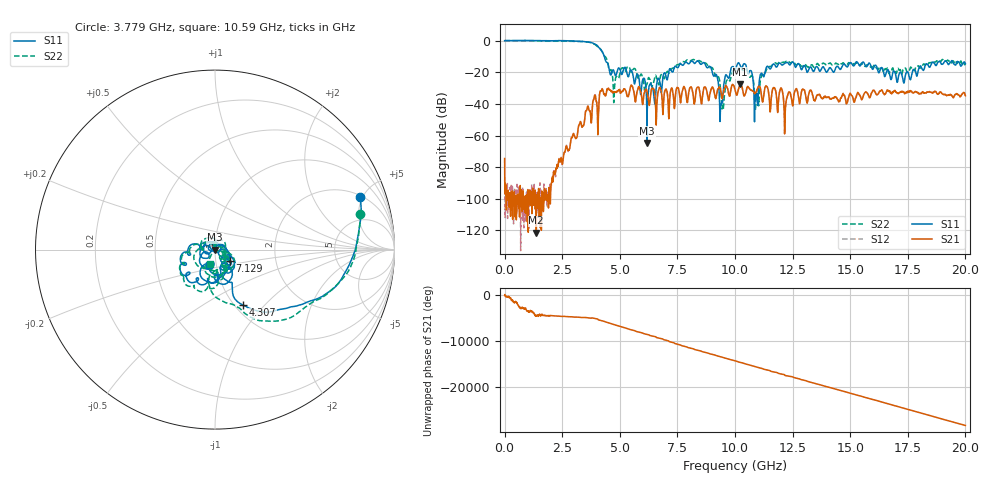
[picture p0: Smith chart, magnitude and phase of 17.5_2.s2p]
#  HZ  S  RI  R  50.00
! Rohde & Schwarz Vector Network Analyzer
! Rohde-Schwarz,ZNB20-2Port,1311601062102128,3.60
! Created: UTC 4/29/2024, 2:58:44 PM
! freq[Hz]  re:S11  im:S11  re:S21  im:S21  re:S12  im:S12  re:S22  im:S22
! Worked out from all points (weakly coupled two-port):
!   2007 points, 100 kHz to 20 GHz, reference 50 ohm
!   highest |S21| = -27.68 dB at 10.23 GHz (marker M1); lowest = -121.4 dB at 1.376 GHz (marker M2)
!   lowest |S11| = -64.7 dB at 6.182 GHz (marker M3), VSWR 1.00, Z = 50 - j0.0558 ohm
!   |S11| at or under -10 dB: 4.326 GHz to end of sweep
!   |S22| runs from -44.4 to 0.1 dB; largest |S21 - S12| = 0.002
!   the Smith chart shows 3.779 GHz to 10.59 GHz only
!   S11 on the Smith chart (normalised r, x): 3.779 GHz: 2.08, +4.77; 4.307 GHz: 1.09, -0.77; 7.129 GHz: 1.17, -0.15; 10.59 GHz: 0.92, -0.16
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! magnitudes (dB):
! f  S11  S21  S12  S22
! 100 kHz  0.0  -74.5  -87.9  0.1
! 1.376 GHz  0.0  -121.4  -101.7  -0.1
! 2.233 GHz  0.0  -81.5  -82.2  -0.3
! 3.34 GHz  -0.6  -53.9  -53.6  -0.6
! 3.779 GHz  -1.3  -49.8  -50.0  -1.6
! 4.307 GHz  -9.2  -33.8  -34.1  -9.2
! 4.776 GHz  -20.7  -32.4  -32.4  -28.8
! 5.354 GHz  -22.8  -35.5  -35.3  -16.4
! 6.182 GHz  -64.7  -32.0  -32.0  -27.4
! 6.67 GHz  -23.8  -32.0  -32.0  -27.2
! 7.129 GHz  -19.7  -49.4  -49.2  -20.6
! 8.654 GHz  -13.9  -29.6  -29.6  -14.3
! 9.192 GHz  -21.6  -34.6  -34.6  -22.5
! 9.402 GHz  -40.1  -33.3  -33.4  -36.4
! 10 GHz  -18.8  -31.2  -31.1  -19.3
! 10.23 GHz  -15.8  -27.7  -27.7  -16.8
! 10.59 GHz  -20.6  -29.6  -29.6  -21.6
! 10.92 GHz  -33.6  -32.4  -32.5  -34.3
! 11.42 GHz  -16.2  -29.9  -29.9  -16.8
! 13.34 GHz  -18.0  -32.7  -32.8  -15.3
! 16.67 GHz  -19.1  -31.7  -31.8  -20.5
! 20 GHz  -14.6  -34.8  -34.8  -14.4
